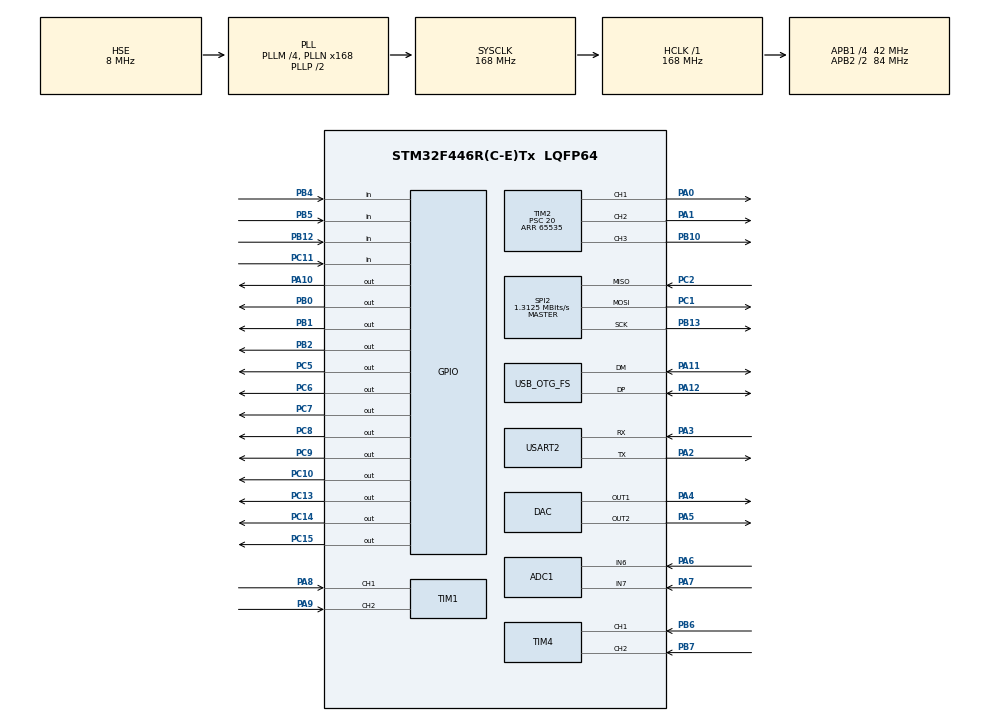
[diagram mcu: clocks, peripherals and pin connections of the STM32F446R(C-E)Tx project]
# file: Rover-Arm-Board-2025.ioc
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ADC1.Channel-0\#ChannelRegularConversion=ADC_CHANNEL_6
ADC1.Channel-2\#ChannelRegularConversion=ADC_CHANNEL_7
ADC1.ContinuousConvMode=DISABLE
ADC1.NbrOfConversion=2
ADC1.NbrOfConversionFlag=1
ADC1.Rank-2\#ChannelRegularConversion=2
ADC1.SamplingTime-0\#ChannelRegularConversion=ADC_SAMPLETIME_15CYCLES
ADC1.SamplingTime-2\#ChannelRegularConversion=ADC_SAMPLETIME_15CYCLES
ADC1.master=1
Mcu.Family=STM32F4
Mcu.Name=STM32F446R(C-E)Tx
Mcu.Package=LQFP64
NVIC.ADC_IRQn=true\:0\:0\:false\:false\:true\:true\:true\:true
NVIC.OTG_FS_IRQn=true\:0\:0\:false\:false\:true\:false\:true\:true
NVIC.PriorityGroup=NVIC_PRIORITYGROUP_4
PA0-WKUP.Signal=S_TIM2_CH1_ETR
PA1.Signal=S_TIM2_CH2
PA10.Signal=GPIO_Output
PA11.Mode=Device_Only
PA11.Signal=USB_OTG_FS_DM
PA12.Mode=Device_Only
PA12.Signal=USB_OTG_FS_DP
PA2.Mode=Asynchronous
PA2.Signal=USART2_TX
PA3.Mode=Asynchronous
PA3.Signal=USART2_RX
PA4.Signal=COMP_DAC1_group
PA5.Signal=COMP_DAC2_group
PA6.Signal=ADCx_IN6
PA7.Signal=ADCx_IN7
PA8.Signal=S_TIM1_CH1
PA9.Signal=S_TIM1_CH2
PB0.Signal=GPIO_Output
PB1.Signal=GPIO_Output
PB10.Signal=S_TIM2_CH3
PB12.Signal=GPIO_Input
PB13.Mode=Full_Duplex_Master
PB13.Signal=SPI2_SCK
PB2.Signal=GPIO_Output
PB4.Signal=GPIO_Input
PB5.Signal=GPIO_Input
PB6.Signal=S_TIM4_CH1
PB7.Signal=S_TIM4_CH2
PC1.Mode=Full_Duplex_Master
PC1.Signal=SPI2_MOSI
PC10.Signal=GPIO_Output
PC11.Signal=GPIO_Input
PC13.Signal=GPIO_Output
PC14-OSC32_IN.Signal=GPIO_Output
PC15-OSC32_OUT.Signal=GPIO_Output
PC2.Mode=Full_Duplex_Master
PC2.Signal=SPI2_MISO
PC5.GPIO_PuPd=GPIO_PULLUP
PC5.GPIO_Speed=GPIO_SPEED_FREQ_HIGH
PC5.PinState=GPIO_PIN_SET
PC5.Signal=GPIO_Output
PC6.Signal=GPIO_Output
PC7.Signal=GPIO_Output
PC8.Signal=GPIO_Output
PC9.Signal=GPIO_Output
PH0-OSC_IN.Mode=HSE-External-Oscillator
PH0-OSC_IN.Signal=RCC_OSC_IN
PH1-OSC_OUT.Mode=HSE-External-Oscillator
PH1-OSC_OUT.Signal=RCC_OSC_OUT
ProjectManager.HeapSize=0x200
ProjectManager.StackSize=0x400
ProjectManager.TargetToolchain=STM32CubeIDE
RCC.AHBFreq_Value=168000000
RCC.APB1CLKDivider=RCC_HCLK_DIV4
RCC.APB1Freq_Value=42000000
RCC.APB1TimFreq_Value=84000000
RCC.APB2CLKDivider=RCC_HCLK_DIV2
RCC.APB2Freq_Value=84000000
RCC.APB2TimFreq_Value=168000000
RCC.CortexFreq_Value=168000000
RCC.HCLKFreq_Value=168000000
RCC.HSE_VALUE=8000000
RCC.PLLM=4
RCC.PLLN=168
RCC.PLLQ=7
RCC.SYSCLKFreq_VALUE=168000000
RCC.SYSCLKSource=RCC_SYSCLKSOURCE_PLLCLK
RCC.USBFreq_Value=48000000
RCC.VCOOutputFreq_Value=336000000
SH.ADCx_IN6.0=ADC1_IN6,IN6
SH.ADCx_IN7.0=ADC1_IN7,IN7
SH.COMP_DAC1_group.0=DAC_OUT1,DAC_OUT1
SH.COMP_DAC2_group.0=DAC_OUT2,DAC_OUT2
SH.S_TIM1_CH1.0=TIM1_CH1,Encoder_Interface
SH.S_TIM1_CH2.0=TIM1_CH2,Encoder_Interface
SH.S_TIM2_CH1_ETR.0=TIM2_CH1,PWM Generation1 CH1
SH.S_TIM2_CH2.0=TIM2_CH2,PWM Generation2 CH2
SH.S_TIM2_CH3.0=TIM2_CH3,PWM Generation3 CH3
SH.S_TIM4_CH1.0=TIM4_CH1,Encoder_Interface
SH.S_TIM4_CH2.0=TIM4_CH2,Encoder_Interface
SPI2.BaudRatePrescaler=SPI_BAUDRATEPRESCALER_32
SPI2.CalculateBaudRate=1.3125 MBits/s
SPI2.Direction=SPI_DIRECTION_2LINES
SPI2.Mode=SPI_MODE_MASTER
SPI2.VirtualType=VM_MASTER
TIM2.AutoReloadPreload=TIM_AUTORELOAD_PRELOAD_ENABLE
TIM2.Channel-PWM\ Generation1\ CH1=TIM_CHANNEL_1
TIM2.Channel-PWM\ Generation2\ CH2=TIM_CHANNEL_2
TIM2.Channel-PWM\ Generation3\ CH3=TIM_CHANNEL_3
TIM2.Period=65535
TIM2.Prescaler=20
USART2.VirtualMode=VM_ASYNC
USB_DEVICE.CLASS_NAME_FS=CDC
USB_DEVICE.VirtualMode-CDC_FS=Cdc
USB_DEVICE.VirtualModeFS=Cdc_FS
USB_OTG_FS.VirtualMode=Device_Only
VP_CRC_VS_CRC.Mode=CRC_Activate
VP_USB_DEVICE_VS_USB_DEVICE_CDC_FS.Mode=CDC_FS
board=custom

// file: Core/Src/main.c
/* USER CODE BEGIN Header */
/**
 ******************************************************************************
 * @file           : main.c
 * @brief          : Main program body
 ******************************************************************************
 * @attention
 *
 * Copyright (c) 2025 STMicroelectronics.
 * All rights reserved.
 *
 * This software is licensed under terms that can be found in the LICENSE file
 * in the root directory of this software component.
 * If no LICENSE file comes with this software, it is provided AS-IS.
 *
 ******************************************************************************
 */
/* USER CODE END Header */
#include "main.h"
#include "usb_device.h"

/* USER CODE BEGIN Includes */
#include "stspin948.h"
#include "brushed_system.h"
#include "encoder_conf.h"
#include "brushed_comms.h"
#include "amt222c.h"
/* USER CODE END Includes */

/* USER CODE BEGIN PD */
#define READING_TO_CUR_CH_A(i) (((float)i / 4095.0)*3.3 - 1.65)
#define READING_TO_CUR_CH_B(i) (((float)i / 4095.0)*3.3 - 1.65)

#define SYSTICK_LOAD (SystemCoreClock/1000000U)
#define SYSTICK_DELAY_CALIB (SYSTICK_LOAD >> 1)

#define DELAY_US(us) \
    do { \
         uint32_t start = SysTick->VAL; \
         uint32_t ticks = (us * SYSTICK_LOAD)-SYSTICK_DELAY_CALIB;  \
         while((start - SysTick->VAL) < ticks); \
    } while (0)
/* USER CODE END PD */

ADC_HandleTypeDef hadc1;

CRC_HandleTypeDef hcrc;

DAC_HandleTypeDef hdac;

SPI_HandleTypeDef hspi2;

TIM_HandleTypeDef htim1;
TIM_HandleTypeDef htim2;
TIM_HandleTypeDef htim4;

UART_HandleTypeDef huart2;

/* USER CODE BEGIN PV */
BrushedDriver bDriver = { 0 };
AMT222C_Handle mEncB = { .hspi = &hspi2, .cs_port = GPIOC, .cs_pin =
GPIO_PIN_5, .gear_ratio = (80.0 / 28.0) * 510.0 };
MotorEncoder mEncA = { 0 };
SetpointData bSetpoint = { 0 };
FeedbackData bFeedback = { 0 };
/* USER CODE END PV */

void SystemClock_Config(void);
static void MX_GPIO_Init(void);
static void MX_ADC1_Init(void);
static void MX_CRC_Init(void);
static void MX_DAC_Init(void);
static void MX_SPI2_Init(void);
static void MX_TIM1_Init(void);
static void MX_TIM2_Init(void);
static void MX_TIM4_Init(void);
static void MX_USART2_UART_Init(void);

int main(void) {

	/* MCU Configuration--------------------------------------------------------*/

	/* Reset of all peripherals, Initializes the Flash interface and the Systick. */
	HAL_Init();

	/* USER CODE BEGIN Init */
	BrushedDriverConfig bConfig = { .phase_a_port = GPIOC, .phase_a_pin =
	GPIO_PIN_6, .phase_b_port = GPIOC, .phase_b_pin = GPIO_PIN_7,
			.enFault_a_port =
			GPIOC, .enFault_a_pin =
			GPIO_PIN_13, .enFault_b_port = GPIOC, .enFault_b_pin =
			GPIO_PIN_14, .pwm_a_inst = &htim2, .pwm_a_channel =
			TIM_CHANNEL_1, .pwm_b_inst = &htim2, .pwm_b_channel =
			TIM_CHANNEL_2, .dacRef_a_inst = &hdac, .dacRef_a_channel =
			DAC_CHANNEL_1, .dacRef_b_inst = &hdac, .dacRef_b_channel =
			DAC_CHANNEL_2, .dacRef_a = 4095, .dacRef_b = 4095, .cur_inst =
					&hadc1, .cur_a_factor = 1, .cur_b_factor = 1, .kp_a = 600.0,
			.ki_a = 0.0, .kd_a = 0.0, .kp_b = 1000.0, .ki_b = 0.0, .kd_b = 0.0 };

	bDriver.config = &bConfig;

	mEncA.htim = &htim1;
	mEncA.min_limit_counts = 32767 - 1475;
	mEncA.max_limit_counts = 32767 + 1475;
	mEncA.total_counts_range = 2950;
	mEncA.count = 32767;
	mEncA.angle_range = 100.0;
	/* USER CODE END Init */

	/* Configure the system clock */
	SystemClock_Config();

	/* Initialize all configured peripherals */
	MX_GPIO_Init();
	MX_ADC1_Init();
	MX_CRC_Init();
	MX_DAC_Init();
	MX_SPI2_Init();
	MX_TIM1_Init();
	MX_TIM2_Init();
	MX_TIM4_Init();
	MX_USART2_UART_Init();
	MX_USB_DEVICE_Init();
	/* USER CODE BEGIN 2 */
//	BrushedComms_RegisterFeedback(&bFeedback);
//	BrushedComms_RegisterSetpoint(&bSetpoint);
//	bDriver.pwm_a = 99999;
	STSPIN948_Init(&bDriver);
	MotorEncoder_Init(&mEncA);
	AMT222C_Init(&mEncB);
	bDriver.pid_a.setpoint = 70.0;
	bDriver.pid_b.setpoint = 50.0;
	__HAL_TIM_SET_COUNTER(&htim1, 32767);
	HAL_GPIO_WritePin(GPIOC, GPIO_PIN_13, GPIO_PIN_RESET);
	HAL_GPIO_WritePin(GPIOC, GPIO_PIN_14, GPIO_PIN_RESET);
	DELAY_US(10);
	HAL_GPIO_WritePin(GPIOC, GPIO_PIN_13, GPIO_PIN_SET);
	HAL_GPIO_WritePin(GPIOC, GPIO_PIN_14, GPIO_PIN_SET);
	bDriver.pwm_a = 65535;
	bDriver.pwm_b = 65535;
	/* USER CODE END 2 */

	/* Infinite loop */
	/* USER CODE BEGIN WHILE */
	float incrementB = 0.001;
	while (1) {
//		HAL_GPIO_TogglePin(GPIOC, GPIO_PIN_8);
//		HAL_GPIO_WritePin(GPIOC, GPIO_PIN_15, GPIO_PIN_SET);
//    BrushedComms_Process();
//		bDriver.pid_a.setpoint = bSetpoint.motor_setpoints[0];
//		bDriver.pid_b.setpoint = bSetpoint.motor_setpoints[1];
//		bDriver.pid_a.setpoint += incrementB; // add 1 degree per second
//		if (bDriver.pid_a.setpoint >= 100.0) {
//			incrementB = -0.001;
//		} else if (bDriver.pid_a.setpoint <= 0.0) {
//			incrementB = 0.001;
//		}

//		HAL_ADC_Start_IT(&hadc1);
//		AMT222C_UpdatePosition(&mEncB);
//		bFeedback.motor_position[1] = AMT222C_GetPosition(&mEncB);
//		NewPosition(&mEncA);
//		STSPIN948_ReadInputs(&bDriver);
//		STSPIN948_CalculatePID(&bDriver, mEncA.angle,
//				bFeedback.motor_position[1]);
		STSPIN948_SetOutputs(&bDriver);
		bFeedback.motor_position[0] = (uint16_t) mEncA.angle;
		bFeedback.motor_current[0] = bDriver.cur_a;
		bFeedback.motor_current[1] = bDriver.cur_b;
		HAL_Delay(1);
		/* USER CODE END WHILE */

	}
}

void SystemClock_Config(void) {
	RCC_OscInitTypeDef RCC_OscInitStruct = { 0 };
	RCC_ClkInitTypeDef RCC_ClkInitStruct = { 0 };

	/** Configure the main internal regulator output voltage
	 */
	__HAL_RCC_PWR_CLK_ENABLE();
	__HAL_PWR_VOLTAGESCALING_CONFIG(PWR_REGULATOR_VOLTAGE_SCALE1);

	/** Initializes the RCC Oscillators according to the specified parameters
	 * in the RCC_OscInitTypeDef structure.
	 */
	RCC_OscInitStruct.OscillatorType = RCC_OSCILLATORTYPE_HSE;
	RCC_OscInitStruct.HSEState = RCC_HSE_ON;
	RCC_OscInitStruct.PLL.PLLState = RCC_PLL_ON;
	RCC_OscInitStruct.PLL.PLLSource = RCC_PLLSOURCE_HSE;
	RCC_OscInitStruct.PLL.PLLM = 4;
	RCC_OscInitStruct.PLL.PLLN = 168;
	RCC_OscInitStruct.PLL.PLLP = RCC_PLLP_DIV2;
	RCC_OscInitStruct.PLL.PLLQ = 7;
	RCC_OscInitStruct.PLL.PLLR = 2;
	if (HAL_RCC_OscConfig(&RCC_OscInitStruct) != HAL_OK) {
		Error_Handler();
	}

	/** Initializes the CPU, AHB and APB buses clocks
	 */
	RCC_ClkInitStruct.ClockType = RCC_CLOCKTYPE_HCLK | RCC_CLOCKTYPE_SYSCLK
			| RCC_CLOCKTYPE_PCLK1 | RCC_CLOCKTYPE_PCLK2;
	RCC_ClkInitStruct.SYSCLKSource = RCC_SYSCLKSOURCE_PLLCLK;
	RCC_ClkInitStruct.AHBCLKDivider = RCC_SYSCLK_DIV1;
	RCC_ClkInitStruct.APB1CLKDivider = RCC_HCLK_DIV4;
	RCC_ClkInitStruct.APB2CLKDivider = RCC_HCLK_DIV2;

	if (HAL_RCC_ClockConfig(&RCC_ClkInitStruct, FLASH_LATENCY_5) != HAL_OK) {
		Error_Handler();
	}
}

static void MX_ADC1_Init(void) {

	ADC_ChannelConfTypeDef sConfig = { 0 };

	/** Configure the global features of the ADC (Clock, Resolution, Data Alignment and number of conversion)
	 */
	hadc1.Instance = ADC1;
	hadc1.Init.ClockPrescaler = ADC_CLOCK_SYNC_PCLK_DIV4;
	hadc1.Init.Resolution = ADC_RESOLUTION_12B;
	hadc1.Init.ScanConvMode = ENABLE;
	hadc1.Init.ContinuousConvMode = DISABLE;
	hadc1.Init.DiscontinuousConvMode = DISABLE;
	hadc1.Init.ExternalTrigConvEdge = ADC_EXTERNALTRIGCONVEDGE_NONE;
	hadc1.Init.ExternalTrigConv = ADC_SOFTWARE_START;
	hadc1.Init.DataAlign = ADC_DATAALIGN_RIGHT;
	hadc1.Init.NbrOfConversion = 2;
	hadc1.Init.DMAContinuousRequests = DISABLE;
	hadc1.Init.EOCSelection = ADC_EOC_SINGLE_CONV;
	if (HAL_ADC_Init(&hadc1) != HAL_OK) {
		Error_Handler();
	}

	/** Configure for the selected ADC regular channel its corresponding rank in the sequencer and its sample time.
	 */
	sConfig.Channel = ADC_CHANNEL_6;
	sConfig.Rank = 1;
	sConfig.SamplingTime = ADC_SAMPLETIME_15CYCLES;
	if (HAL_ADC_ConfigChannel(&hadc1, &sConfig) != HAL_OK) {
		Error_Handler();
	}

	/** Configure for the selected ADC regular channel its corresponding rank in the sequencer and its sample time.
	 */
	sConfig.Channel = ADC_CHANNEL_7;
	sConfig.Rank = 2;
	if (HAL_ADC_ConfigChannel(&hadc1, &sConfig) != HAL_OK) {
		Error_Handler();
	}

}

static void MX_CRC_Init(void) {

	hcrc.Instance = CRC;
	if (HAL_CRC_Init(&hcrc) != HAL_OK) {
		Error_Handler();
	}

}

static void MX_DAC_Init(void) {

	DAC_ChannelConfTypeDef sConfig = { 0 };

	/** DAC Initialization
	 */
	hdac.Instance = DAC;
	if (HAL_DAC_Init(&hdac) != HAL_OK) {
		Error_Handler();
	}

	/** DAC channel OUT1 config
	 */
	sConfig.DAC_Trigger = DAC_TRIGGER_NONE;
	sConfig.DAC_OutputBuffer = DAC_OUTPUTBUFFER_ENABLE;
	if (HAL_DAC_ConfigChannel(&hdac, &sConfig, DAC_CHANNEL_1) != HAL_OK) {
		Error_Handler();
	}

	/** DAC channel OUT2 config
	 */
	if (HAL_DAC_ConfigChannel(&hdac, &sConfig, DAC_CHANNEL_2) != HAL_OK) {
		Error_Handler();
	}

}

static void MX_SPI2_Init(void) {

	/* SPI2 parameter configuration*/
	hspi2.Instance = SPI2;
	hspi2.Init.Mode = SPI_MODE_MASTER;
	hspi2.Init.Direction = SPI_DIRECTION_2LINES;
	hspi2.Init.DataSize = SPI_DATASIZE_8BIT;
	hspi2.Init.CLKPolarity = SPI_POLARITY_LOW;
	hspi2.Init.CLKPhase = SPI_PHASE_1EDGE;
	hspi2.Init.NSS = SPI_NSS_SOFT;
	hspi2.Init.BaudRatePrescaler = SPI_BAUDRATEPRESCALER_32;
	hspi2.Init.FirstBit = SPI_FIRSTBIT_MSB;
	hspi2.Init.TIMode = SPI_TIMODE_DISABLE;
	hspi2.Init.CRCCalculation = SPI_CRCCALCULATION_DISABLE;
	hspi2.Init.CRCPolynomial = 10;
	if (HAL_SPI_Init(&hspi2) != HAL_OK) {
		Error_Handler();
	}

}

static void MX_TIM1_Init(void) {

	TIM_Encoder_InitTypeDef sConfig = { 0 };
	TIM_MasterConfigTypeDef sMasterConfig = { 0 };

	htim1.Instance = TIM1;
	htim1.Init.Prescaler = 0;
	htim1.Init.CounterMode = TIM_COUNTERMODE_UP;
	htim1.Init.Period = 65535;
	htim1.Init.ClockDivision = TIM_CLOCKDIVISION_DIV1;
	htim1.Init.RepetitionCounter = 0;
	htim1.Init.AutoReloadPreload = TIM_AUTORELOAD_PRELOAD_DISABLE;
	sConfig.EncoderMode = TIM_ENCODERMODE_TI1;
	sConfig.IC1Polarity = TIM_ICPOLARITY_RISING;
	sConfig.IC1Selection = TIM_ICSELECTION_DIRECTTI;
	sConfig.IC1Prescaler = TIM_ICPSC_DIV1;
	sConfig.IC1Filter = 0;
	sConfig.IC2Polarity = TIM_ICPOLARITY_RISING;
	sConfig.IC2Selection = TIM_ICSELECTION_DIRECTTI;
	sConfig.IC2Prescaler = TIM_ICPSC_DIV1;
	sConfig.IC2Filter = 0;
	if (HAL_TIM_Encoder_Init(&htim1, &sConfig) != HAL_OK) {
		Error_Handler();
	}
	sMasterConfig.MasterOutputTrigger = TIM_TRGO_RESET;
	sMasterConfig.MasterSlaveMode = TIM_MASTERSLAVEMODE_DISABLE;
	if (HAL_TIMEx_MasterConfigSynchronization(&htim1, &sMasterConfig)
			!= HAL_OK) {
		Error_Handler();
	}

}

static void MX_TIM2_Init(void) {

	TIM_MasterConfigTypeDef sMasterConfig = { 0 };
	TIM_OC_InitTypeDef sConfigOC = { 0 };

	htim2.Instance = TIM2;
	htim2.Init.Prescaler = 20;
	htim2.Init.CounterMode = TIM_COUNTERMODE_UP;
	htim2.Init.Period = 65535;
	htim2.Init.ClockDivision = TIM_CLOCKDIVISION_DIV1;
	htim2.Init.AutoReloadPreload = TIM_AUTORELOAD_PRELOAD_ENABLE;
	if (HAL_TIM_PWM_Init(&htim2) != HAL_OK) {
		Error_Handler();
	}
	sMasterConfig.MasterOutputTrigger = TIM_TRGO_RESET;
	sMasterConfig.MasterSlaveMode = TIM_MASTERSLAVEMODE_DISABLE;
	if (HAL_TIMEx_MasterConfigSynchronization(&htim2, &sMasterConfig)
			!= HAL_OK) {
		Error_Handler();
	}
	sConfigOC.OCMode = TIM_OCMODE_PWM1;
	sConfigOC.Pulse = 0;
	sConfigOC.OCPolarity = TIM_OCPOLARITY_HIGH;
	sConfigOC.OCFastMode = TIM_OCFAST_DISABLE;
	if (HAL_TIM_PWM_ConfigChannel(&htim2, &sConfigOC, TIM_CHANNEL_1)
			!= HAL_OK) {
		Error_Handler();
	}
	if (HAL_TIM_PWM_ConfigChannel(&htim2, &sConfigOC, TIM_CHANNEL_2)
			!= HAL_OK) {
		Error_Handler();
	}
	if (HAL_TIM_PWM_ConfigChannel(&htim2, &sConfigOC, TIM_CHANNEL_3)
			!= HAL_OK) {
		Error_Handler();
	}
	HAL_TIM_MspPostInit(&htim2);

}

static void MX_TIM4_Init(void) {

	TIM_Encoder_InitTypeDef sConfig = { 0 };
	TIM_MasterConfigTypeDef sMasterConfig = { 0 };

	htim4.Instance = TIM4;
	htim4.Init.Prescaler = 0;
	htim4.Init.CounterMode = TIM_COUNTERMODE_UP;
	htim4.Init.Period = 65535;
	htim4.Init.ClockDivision = TIM_CLOCKDIVISION_DIV1;
	htim4.Init.AutoReloadPreload = TIM_AUTORELOAD_PRELOAD_DISABLE;
	sConfig.EncoderMode = TIM_ENCODERMODE_TI1;
	sConfig.IC1Polarity = TIM_ICPOLARITY_RISING;
	sConfig.IC1Selection = TIM_ICSELECTION_DIRECTTI;
	sConfig.IC1Prescaler = TIM_ICPSC_DIV1;
	sConfig.IC1Filter = 0;
	sConfig.IC2Polarity = TIM_ICPOLARITY_RISING;
	sConfig.IC2Selection = TIM_ICSELECTION_DIRECTTI;
	sConfig.IC2Prescaler = TIM_ICPSC_DIV1;
	sConfig.IC2Filter = 0;
	if (HAL_TIM_Encoder_Init(&htim4, &sConfig) != HAL_OK) {
		Error_Handler();
	}
	sMasterConfig.MasterOutputTrigger = TIM_TRGO_RESET;
	sMasterConfig.MasterSlaveMode = TIM_MASTERSLAVEMODE_DISABLE;
	if (HAL_TIMEx_MasterConfigSynchronization(&htim4, &sMasterConfig)
			!= HAL_OK) {
		Error_Handler();
	}

}

static void MX_USART2_UART_Init(void) {

	huart2.Instance = USART2;
	huart2.Init.BaudRate = 115200;
	huart2.Init.WordLength = UART_WORDLENGTH_8B;
	huart2.Init.StopBits = UART_STOPBITS_1;
	huart2.Init.Parity = UART_PARITY_NONE;
	huart2.Init.Mode = UART_MODE_TX_RX;
	huart2.Init.HwFlowCtl = UART_HWCONTROL_NONE;
	huart2.Init.OverSampling = UART_OVERSAMPLING_16;
	if (HAL_UART_Init(&huart2) != HAL_OK) {
		Error_Handler();
	}

}

static void MX_GPIO_Init(void) {
	GPIO_InitTypeDef GPIO_InitStruct = { 0 };

	/* GPIO Ports Clock Enable */
	__HAL_RCC_GPIOC_CLK_ENABLE();
	__HAL_RCC_GPIOH_CLK_ENABLE();
	__HAL_RCC_GPIOA_CLK_ENABLE();
	__HAL_RCC_GPIOB_CLK_ENABLE();

	/*Configure GPIO pin Output Level */
	HAL_GPIO_WritePin(GPIOC,
			GPIO_PIN_13 | GPIO_PIN_14 | GPIO_PIN_15 | GPIO_PIN_6 | GPIO_PIN_7
					| GPIO_PIN_8 | GPIO_PIN_9 | GPIO_PIN_10, GPIO_PIN_RESET);

	/*Configure GPIO pin Output Level */
	HAL_GPIO_WritePin(GPIOC, GPIO_PIN_5, GPIO_PIN_SET);

	/*Configure GPIO pin Output Level */
	HAL_GPIO_WritePin(GPIOB, GPIO_PIN_0 | GPIO_PIN_1 | GPIO_PIN_2,
			GPIO_PIN_RESET);

	/*Configure GPIO pin Output Level */
	HAL_GPIO_WritePin(GPIOA, GPIO_PIN_10, GPIO_PIN_RESET);

	/*Configure GPIO pins : PC13 PC14 PC15 PC6
	 PC7 PC8 PC9 PC10 */
	GPIO_InitStruct.Pin = GPIO_PIN_13 | GPIO_PIN_14 | GPIO_PIN_15 | GPIO_PIN_6
			| GPIO_PIN_7 | GPIO_PIN_8 | GPIO_PIN_9 | GPIO_PIN_10;
	GPIO_InitStruct.Mode = GPIO_MODE_OUTPUT_PP;
	GPIO_InitStruct.Pull = GPIO_NOPULL;
	GPIO_InitStruct.Speed = GPIO_SPEED_FREQ_LOW;
	HAL_GPIO_Init(GPIOC, &GPIO_InitStruct);

	/*Configure GPIO pin : PC5 */
	GPIO_InitStruct.Pin = GPIO_PIN_5;
	GPIO_InitStruct.Mode = GPIO_MODE_OUTPUT_PP;
	GPIO_InitStruct.Pull = GPIO_PULLUP;
	GPIO_InitStruct.Speed = GPIO_SPEED_FREQ_HIGH;
	HAL_GPIO_Init(GPIOC, &GPIO_InitStruct);

	/*Configure GPIO pins : PB0 PB1 PB2 */
	GPIO_InitStruct.Pin = GPIO_PIN_0 | GPIO_PIN_1 | GPIO_PIN_2;
	GPIO_InitStruct.Mode = GPIO_MODE_OUTPUT_PP;
	GPIO_InitStruct.Pull = GPIO_NOPULL;
	GPIO_InitStruct.Speed = GPIO_SPEED_FREQ_LOW;
	HAL_GPIO_Init(GPIOB, &GPIO_InitStruct);

	/*Configure GPIO pins : PB12 PB4 PB5 */
	GPIO_InitStruct.Pin = GPIO_PIN_12 | GPIO_PIN_4 | GPIO_PIN_5;
	GPIO_InitStruct.Mode = GPIO_MODE_INPUT;
	GPIO_InitStruct.Pull = GPIO_NOPULL;
	HAL_GPIO_Init(GPIOB, &GPIO_InitStruct);

	/*Configure GPIO pin : PA10 */
	GPIO_InitStruct.Pin = GPIO_PIN_10;
	GPIO_InitStruct.Mode = GPIO_MODE_OUTPUT_PP;
	GPIO_InitStruct.Pull = GPIO_NOPULL;
	GPIO_InitStruct.Speed = GPIO_SPEED_FREQ_LOW;
	HAL_GPIO_Init(GPIOA, &GPIO_InitStruct);

	/*Configure GPIO pin : PC11 */
	GPIO_InitStruct.Pin = GPIO_PIN_11;
	GPIO_InitStruct.Mode = GPIO_MODE_INPUT;
	GPIO_InitStruct.Pull = GPIO_NOPULL;
	HAL_GPIO_Init(GPIOC, &GPIO_InitStruct);

}

/* USER CODE BEGIN 4 */
void HAL_ADC_ConvCpltCallback(ADC_HandleTypeDef *hadc) {
	if (hadc->Instance == ADC1) {
		bDriver.raw_cur.u32 = HAL_ADC_GetValue(hadc);
	}
}
/* USER CODE END 4 */

void Error_Handler(void) {
	__disable_irq();
	while (1) {
	}
}
